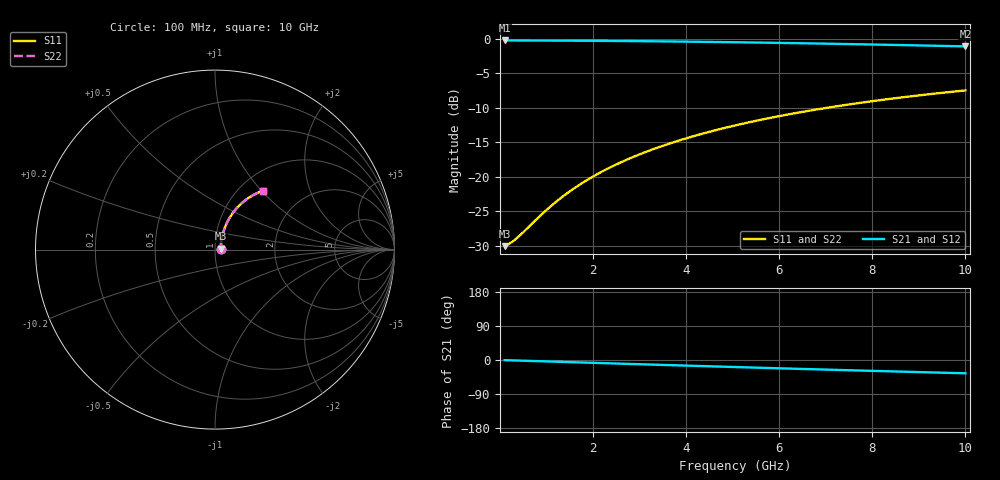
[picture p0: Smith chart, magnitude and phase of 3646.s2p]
# Hz S RI R 50.00
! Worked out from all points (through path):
!   100 points, 100 MHz to 10 GHz, reference 50 ohm
!   highest |S21| = -0.27 dB at 100 MHz (marker M1); lowest = -1.1 dB at 10 GHz (marker M2)
!   group delay of S21, straight-line fit = 9.78 ps
!   lowest |S11| = -30.1 dB at 100 MHz (marker M3), VSWR 1.06, Z = 53.2 + j0.488 ohm
!   |S11| at or under -10 dB: start of sweep to 7.049 GHz
!   |S22| runs from -30.1 to -7.5 dB; largest |S21 - S12| = 0
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1e8  0.0311 0.00458  0.9689 -0.00633  0.9689 -0.00633  0.0311 0.00458
2e8  0.0314 0.00916  0.9686 -0.0127  0.9686 -0.0127  0.0314 0.00916
3e8  0.0317 0.0137  0.9683 -0.019  0.9683 -0.019  0.0317 0.0137
4e8  0.032 0.0183  0.968 -0.0253  0.968 -0.0253  0.032 0.0183
9e8  0.0343 0.041  0.9655 -0.0568  0.9655 -0.0568  0.0343 0.041
1.2e9  0.0364 0.0546  0.9634 -0.0756  0.9634 -0.0756  0.0364 0.0546
1.5e9  0.0389 0.068  0.9607 -0.0943  0.9607 -0.0943  0.0389 0.068
1.8e9  0.042 0.0813  0.9575 -0.1128  0.9575 -0.1128  0.042 0.0813
2.1e9  0.0455 0.0944  0.9538 -0.1312  0.9538 -0.1312  0.0455 0.0944
2.5e9  0.051 0.1116  0.948 -0.1554  0.948 -0.1554  0.051 0.1116
2.9e9  0.0573 0.1285  0.9413 -0.1793  0.9413 -0.1793  0.0573 0.1285
3.4e9  0.0664 0.1489  0.9318 -0.2085  0.9318 -0.2085  0.0664 0.1489
3.8e9  0.0745 0.1647  0.9232 -0.2314  0.9232 -0.2314  0.0745 0.1647
4.2e9  0.0833 0.18  0.9139 -0.2537  0.9139 -0.2537  0.0833 0.18
4.6e9  0.0928 0.1947  0.9038 -0.2755  0.9038 -0.2755  0.0928 0.1947
5.1e9  0.1056 0.2122  0.8902 -0.3018  0.8902 -0.3018  0.1056 0.2122
5.9e9  0.128 0.2382  0.8665 -0.342  0.8665 -0.342  0.128 0.2382
6.7e9  0.1523 0.2615  0.8405 -0.3795  0.8405 -0.3795  0.1523 0.2615
7.5e9  0.1782 0.2819  0.8127 -0.4142  0.8127 -0.4142  0.1782 0.2819
8.4e9  0.2088 0.3014  0.7798 -0.4498  0.7798 -0.4498  0.2088 0.3014
9.2e9  0.2369 0.3157  0.7494 -0.4785  0.7494 -0.4785  0.2369 0.3157
1e10  0.2655 0.3271  0.7183 -0.5044  0.7183 -0.5044  0.2655 0.3271
